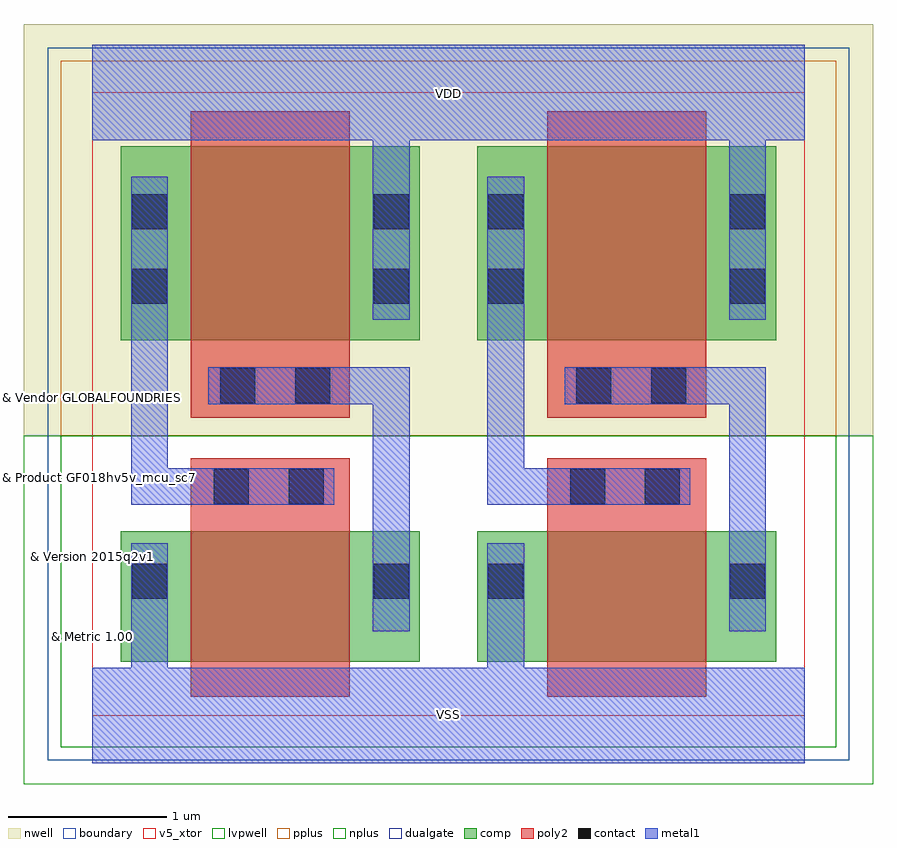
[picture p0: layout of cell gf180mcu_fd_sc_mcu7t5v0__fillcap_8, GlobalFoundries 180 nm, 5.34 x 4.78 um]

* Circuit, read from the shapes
.subckt gf180mcu_fd_sc_mcu7t5v0__fillcap_8 VDD VSS
XM1 n1 n2 VSS VSUBS nfet_05v0 w=0.82u l=1u
XM2 n3 n4 VSS VSUBS nfet_05v0 w=0.82u l=1u
XM3 VDD n1 n2 n5 pfet_05v0 w=1.22u l=1u
XM4 VDD n3 n4 n5 pfet_05v0 w=1.22u l=1u
.ends

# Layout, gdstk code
import gdstk
lib = gdstk.Library(unit=1e-6, precision=1e-09)
def R(c, l, rs):  # rectangles x0, y0, x1, y1
    for r in rs: c.add(gdstk.rectangle(r[:2], r[2:], *l))
def P(c, l, *ps):  # polygons
    for p in ps: c.add(gdstk.Polygon(p, *l))
boundary = (0, 0)
nwell = (21, 0)
comp = (22, 0)
poly2 = (30, 0)
pplus = (31, 0)
nplus = (32, 0)
contact = (33, 0)
metal1 = (34, 0)
dualgate = (55, 0)
v5_xtor = (112, 1)
lvpwell = (204, 0)

gf180mcu_fd_sc_mcu7t5v0_ = lib.new_cell('gf180mcu_fd_sc_mcu7t5v0__fillcap_8')
R(gf180mcu_fd_sc_mcu7t5v0_, boundary, [(0,0,4.48,3.92)])
R(gf180mcu_fd_sc_mcu7t5v0_, nwell, [(-0.43,1.76,4.91,4.35)])
R(gf180mcu_fd_sc_mcu7t5v0_, comp, [(0.18,0.34,2.06,1.16), (2.42,0.34,4.3,1.16), (0.18,2.36,2.06,3.58), (2.42,2.36,4.3,3.58)])
R(gf180mcu_fd_sc_mcu7t5v0_, poly2, [(0.62,0.12,1.62,1.62), (2.86,0.12,3.86,1.62), (0.62,1.875,1.62,3.8), (2.86,1.875,3.86,3.8)])
R(gf180mcu_fd_sc_mcu7t5v0_, pplus, [(-0.2,1.76,4.68,4.12)])
R(gf180mcu_fd_sc_mcu7t5v0_, nplus, [(-0.2,-0.2,4.68,1.76)])
R(gf180mcu_fd_sc_mcu7t5v0_, contact, [(0.25,0.735,0.47,0.955), (1.77,0.735,1.99,0.955), (2.49,0.735,2.71,0.955), (4.01,0.735,4.23,0.955), (0.765,1.33,0.985,1.55), (1.235,1.33,1.455,1.55), (3.005,1.33,3.225,1.55), (3.475,1.33,3.695,1.55), (0.805,1.965,1.025,2.185), (1.275,1.965,1.495,2.185), (3.045,1.965,3.265,2.185), (3.515,1.965,3.735,2.185), (0.25,2.59,0.47,2.81), (1.77,2.59,1.99,2.81), (2.49,2.59,2.71,2.81), (4.01,2.59,4.23,2.81), (0.25,3.06,0.47,3.28), (1.77,3.06,1.99,3.28), (2.49,3.06,2.71,3.28), (4.01,3.06,4.23,3.28)])
P(gf180mcu_fd_sc_mcu7t5v0_, metal1, [(0.245,1.325),(0.245,3.39),(0.475,3.39),(0.475,1.555),(1.52,1.555),(1.52,1.325)],
  [(1.765,0.53),(1.765,1.96),(0.73,1.96),(0.73,2.19),(1.995,2.19),(1.995,0.53)],
  [(2.485,1.325),(2.485,3.39),(2.715,3.39),(2.715,1.555),(3.76,1.555),(3.76,1.325)],
  [(4.005,0.53),(4.005,1.96),(2.97,1.96),(2.97,2.19),(4.235,2.19),(4.235,0.53)],
  [(0,-0.3),(0,0.3),(0.245,0.3),(0.245,1.085),(0.475,1.085),(0.475,0.3),(2.485,0.3),(2.485,1.085),(2.715,1.085),(2.715,0.3),(4.48,0.3),(4.48,-0.3)],
  [(1.765,2.49),(1.765,3.62),(0,3.62),(0,4.22),(4.48,4.22),(4.48,3.62),(4.235,3.62),(4.235,2.49),(4.005,2.49),(4.005,3.62),(1.995,3.62),(1.995,2.49)])
R(gf180mcu_fd_sc_mcu7t5v0_, dualgate, [(-0.28,-0.28,4.76,4.2)])
R(gf180mcu_fd_sc_mcu7t5v0_, v5_xtor, [(0,0,4.48,3.92)])
R(gf180mcu_fd_sc_mcu7t5v0_, lvpwell, [(-0.43,-0.43,4.91,1.76)])
gf180mcu_fd_sc_mcu7t5v0_.add(gdstk.Label('VDD', (2.24,3.91), layer=34, texttype=10))
gf180mcu_fd_sc_mcu7t5v0_.add(gdstk.Label('VSS', (2.24,0.01), layer=34, texttype=10))
gf180mcu_fd_sc_mcu7t5v0_.add(gdstk.Label('& Vendor GLOBALFOUNDRIES', (0,2), layer=63, texttype=63))
gf180mcu_fd_sc_mcu7t5v0_.add(gdstk.Label('& Product GF018hv5v_mcu_sc7', (0,1.5), layer=63, texttype=63))
gf180mcu_fd_sc_mcu7t5v0_.add(gdstk.Label('& Version 2015q2v1', (0,1), layer=63, texttype=63))
gf180mcu_fd_sc_mcu7t5v0_.add(gdstk.Label('& Metric 1.00', (0,0.5), layer=63, texttype=63))

lib.write_gds('gf180mcu_fd_sc_mcu7t5v0__fillcap_8.gds')
